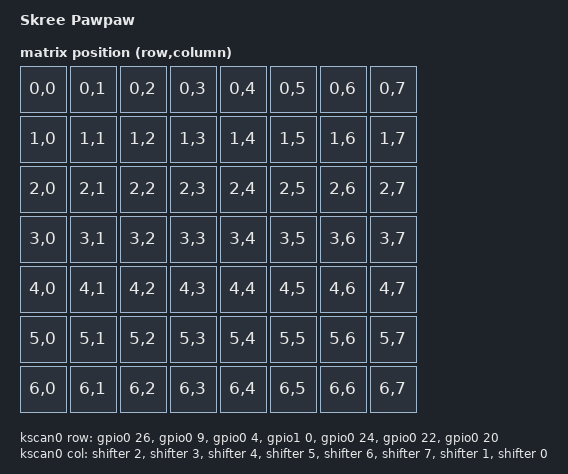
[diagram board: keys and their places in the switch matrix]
/*
 * Skree Pawpaw - nRF52840 (MS88SF21) keyboard controller
 * SPDX-License-Identifier: MIT
 *
 * Pin map verified against the EasyEDA schematic netlist, not read off an
 * image. See notes/06-pawpaw-pinmap.md.
 *
 * Shift register chain: U2 first (DS <- MOSI), U7 second (DS <- U2 Q7S).
 * ZMK &shifter index == chain stage, so:
 *   0..7  = U2 Q0..Q7 -> C8, C7, C1, C2, C3, C4, C5, C6
 *   8     = U7 Q0     -> unconnected
 *   9     = U7 Q1     -> 3v3en  (SK6812 power FET)
 *   10..15= U7 Q2..Q7 -> A1..A6 (spare)
 * Note the columns are NOT in numeric order.
 */

/dts-v1/;
#include <nordic/nrf52840_qiaa.dtsi>
#include "pawpaw-pinctrl.dtsi"
#include <dt-bindings/zmk/matrix_transform.h>
#include <dt-bindings/led/led.h>

/ {
    model = "Skree Pawpaw";
    compatible = "skree,pawpaw";

    chosen {
        zephyr,code-partition = &code_partition;
        zephyr,sram = &sram0;
        zephyr,flash = &flash0;
        zmk,battery = &vbatt;
        zmk,kscan = &kscan0;
        zmk,matrix-transform = &default_transform;
        zmk,underglow = &led_strip;
    };

    /*
     * SK6812 chain power FET, driven from shift register index 9 (U7 Q1).
     * Node name must be EXT_POWER so ZMK's saved on/off setting is preserved.
     * The FET exists because undriven SK6812s draw significant parasitic
     * current; EP_TOG / EP_OFF cuts their 3V3 rail entirely.
     */
    EXT_POWER {
        compatible = "zmk,ext-power-generic";
        control-gpios = <&shifter 9 GPIO_ACTIVE_HIGH>;
        init-delay-ms = <50>;
    };

    vbatt: vbatt {
        compatible = "zmk,battery-nrf-vddh";
    };

    kscan0: kscan {
        compatible = "zmk,kscan-gpio-matrix";
        diode-direction = "col2row";
        wakeup-source;

        /* logical C1..C8 -> shifter stage */
        col-gpios
            = <&shifter 2 GPIO_ACTIVE_HIGH>     /* C1 = U2 Q2 */
            , <&shifter 3 GPIO_ACTIVE_HIGH>     /* C2 = U2 Q3 */
            , <&shifter 4 GPIO_ACTIVE_HIGH>     /* C3 = U2 Q4 */
            , <&shifter 5 GPIO_ACTIVE_HIGH>     /* C4 = U2 Q5 */
            , <&shifter 6 GPIO_ACTIVE_HIGH>     /* C5 = U2 Q6 */
            , <&shifter 7 GPIO_ACTIVE_HIGH>     /* C6 = U2 Q7 */
            , <&shifter 1 GPIO_ACTIVE_HIGH>     /* C7 = U2 Q1 */
            , <&shifter 0 GPIO_ACTIVE_HIGH>     /* C8 = U2 Q0 */
            ;

        row-gpios
            = <&gpio0 26 (GPIO_ACTIVE_HIGH | GPIO_PULL_DOWN)>   /* R1 P0.26 */
            , <&gpio0  9 (GPIO_ACTIVE_HIGH | GPIO_PULL_DOWN)>   /* R2 P0.09 NFC1! */
            , <&gpio0  4 (GPIO_ACTIVE_HIGH | GPIO_PULL_DOWN)>   /* R3 P0.04 */
            , <&gpio1  0 (GPIO_ACTIVE_HIGH | GPIO_PULL_DOWN)>   /* R4 P1.00 */
            , <&gpio0 24 (GPIO_ACTIVE_HIGH | GPIO_PULL_DOWN)>   /* R5 P0.24 */
            , <&gpio0 22 (GPIO_ACTIVE_HIGH | GPIO_PULL_DOWN)>   /* R6 P0.22 */
            , <&gpio0 20 (GPIO_ACTIVE_HIGH | GPIO_PULL_DOWN)>   /* R7 P0.20 */
            ;
    };

    default_transform: keymap_transform {
        compatible = "zmk,matrix-transform";
        columns = <8>;
        rows = <7>;
        map = <
            RC(0,0) RC(0,1) RC(0,2) RC(0,3) RC(0,4) RC(0,5) RC(0,6) RC(0,7)
            RC(1,0) RC(1,1) RC(1,2) RC(1,3) RC(1,4) RC(1,5) RC(1,6) RC(1,7)
            RC(2,0) RC(2,1) RC(2,2) RC(2,3) RC(2,4) RC(2,5) RC(2,6) RC(2,7)
            RC(3,0) RC(3,1) RC(3,2) RC(3,3) RC(3,4) RC(3,5) RC(3,6) RC(3,7)
            RC(4,0) RC(4,1) RC(4,2) RC(4,3) RC(4,4) RC(4,5) RC(4,6) RC(4,7)
            RC(5,0) RC(5,1) RC(5,2) RC(5,3) RC(5,4) RC(5,5) RC(5,6) RC(5,7)
            RC(6,0) RC(6,1) RC(6,2) RC(6,3) RC(6,4) RC(6,5) RC(6,6) RC(6,7)
        >;
    };
};

&adc      { status = "okay"; };
&gpiote   { status = "okay"; };
&gpio0    { status = "okay"; };
&gpio1    { status = "okay"; };

/*
 * Shared SPI bus: 74HC595 chain (CS = SR_CS P1.13) and the display
 * connector (CS = SC-CS P0.10). Display traffic shifts junk through the
 * 595s but never pulses their latch, and the next 595 write shifts 16
 * fresh bits in, so it self-corrects.
 */
&spi1 {
    compatible = "nordic,nrf-spim";
    status = "okay";
    pinctrl-0 = <&spi1_default>;
    pinctrl-1 = <&spi1_sleep>;
    pinctrl-names = "default", "sleep";

    cs-gpios = <&gpio1 13 GPIO_ACTIVE_LOW>      /* SR_CS  - 595 STCP latch */
             , <&gpio0 10 GPIO_ACTIVE_LOW>;     /* SC-CS  - display        */

    shifter: 595@0 {
        compatible = "zmk,gpio-595";
        status = "okay";
        gpio-controller;
        spi-max-frequency = <200000>;
        reg = <0>;
        #gpio-cells = <2>;
        ngpios = <16>;                          /* two chained registers */
    };
};

/*
 * SK6812 chain on LED_DATA (P0.31). Must be its own SPI instance - it cannot
 * share spi1 with the shift registers.
 *
 * chain-length MUST match the number of LEDs actually fitted. Too few and the
 * tail of the chain stays dark; too many and the effects spread across
 * positions that do not exist. Currently set for a 6x6 sheet (36) plus a
 * 6-key thumb (6).
 *
 * Power to this chain is switched by the FET on &shifter 9, and ZMK ties
 * underglow to ext-power by default, so RGB_TOG drives the FET for free.
 */
&spi3 {
    compatible = "nordic,nrf-spim";
    status = "okay";
    pinctrl-0 = <&spi3_default>;
    pinctrl-1 = <&spi3_sleep>;
    pinctrl-names = "default", "sleep";

    led_strip: ws2812@0 {
        compatible = "worldsemi,ws2812-spi";
        reg = <0>;
        spi-max-frequency = <4000000>;
        chain-length = <42>;              /* <-- SET TO YOUR ACTUAL LED COUNT */
        spi-one-frame = <0x70>;
        spi-zero-frame = <0x40>;
        color-mapping = <LED_COLOR_ID_GREEN
                         LED_COLOR_ID_RED
                         LED_COLOR_ID_BLUE>;
    };
};

zephyr_udc0: &usbd { status = "okay"; };

&flash0 {
    partitions {
        compatible = "fixed-partitions";
        #address-cells = <1>;
        #size-cells = <1>;

        sd_partition: partition@0 {
            reg = <0x00000000 0x00026000>;
        };
        code_partition: partition@26000 {
            reg = <0x00026000 0x000c6000>;
        };
        storage_partition: partition@ec000 {
            reg = <0x000ec000 0x00008000>;
        };
        boot_partition: partition@f4000 {
            reg = <0x000f4000 0x0000c000>;
        };
    };
};
